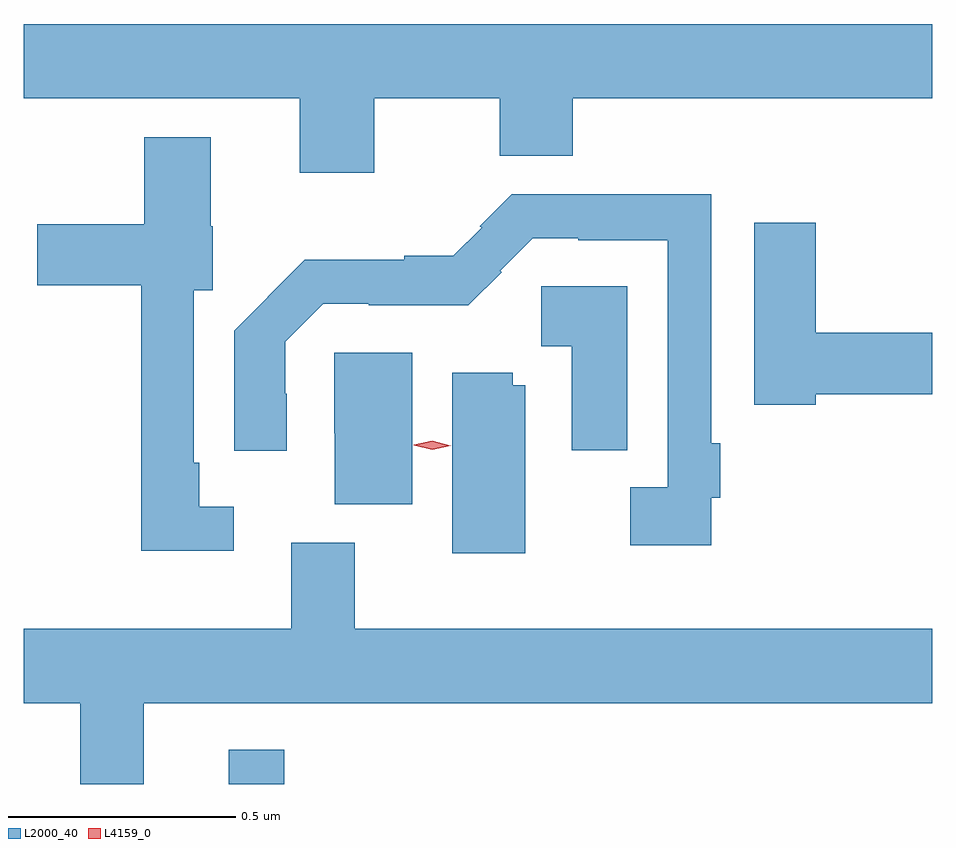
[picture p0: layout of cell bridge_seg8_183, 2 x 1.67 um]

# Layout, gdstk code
import gdstk
lib = gdstk.Library(unit=1e-6, precision=1e-09)
def R(c, l, rs):  # rectangles x0, y0, x1, y1
    for r in rs: c.add(gdstk.rectangle(r[:2], r[2:], *l))
def P(c, l, *ps):  # polygons
    for p in ps: c.add(gdstk.Polygon(p, *l))
L2000_40 = (2000, 40)
L4159_0 = (4159, 0)

bridge_seg8_183 = lib.new_cell('bridge_seg8_183')
R(bridge_seg8_183, L2000_40, [(274.094,1114.99,274.216,1115.065)])
P(bridge_seg8_183, L2000_40, [(273.643,1116.5),(274.25,1116.5),(274.25,1116.336),(274.414,1116.336),(274.414,1116.5),(274.691,1116.5),(274.691,1116.374),(274.852,1116.374),(274.852,1116.5),(275.643,1116.5),(275.643,1116.664),(273.643,1116.664)],
  [(274.105,1115.601),(274.029,1115.601),(274.029,1115.698),(274.017,1115.698),(274.017,1116.077),(274.059,1116.077),(274.059,1116.219),(274.054,1116.219),(274.054,1116.415),(273.908,1116.415),(273.908,1116.223),(273.672,1116.223),(273.672,1116.089),(273.901,1116.089),(273.901,1115.504),(274.105,1115.504)],
  [(275.157,1115.62),(275.177,1115.62),(275.177,1115.74),(275.157,1115.74),(275.157,1116.289),(274.717,1116.289),(274.647,1116.219),(274.651,1116.215),(274.589,1116.153),(274.481,1116.153),(274.481,1116.145),(274.261,1116.145),(274.18,1116.063),(274.18,1116.062),(274.106,1115.988),(274.106,1115.724),(274.222,1115.724),(274.222,1115.85),(274.218,1115.85),(274.218,1115.964),(274.302,1116.048),(274.402,1116.048),(274.402,1116.044),(274.621,1116.044),(274.695,1116.117),(274.692,1116.12),(274.764,1116.192),(274.864,1116.192),(274.864,1116.188),(275.061,1116.188),(275.061,1115.644),(274.978,1115.644),(274.978,1115.516),(275.157,1115.516)],
  [(275.387,1115.848),(275.643,1115.848),(275.643,1115.984),(275.387,1115.984),(275.387,1116.226),(275.252,1116.226),(275.252,1115.825),(275.387,1115.825)],
  [(274.972,1116.086),(274.782,1116.086),(274.782,1115.954),(274.85,1115.954),(274.85,1115.725),(274.972,1115.725)],
  [(274.498,1115.94),(274.326,1115.94),(274.326,1115.763),(274.328,1115.763),(274.328,1115.606),(274.498,1115.606)],
  [(274.747,1115.868),(274.719,1115.868),(274.719,1115.896),(274.586,1115.896),(274.586,1115.498),(274.747,1115.498)],
  [(273.907,1115.168),(275.643,1115.168),(275.643,1115.332),(274.372,1115.332),(274.372,1115.521),(274.232,1115.521),(274.232,1115.332),(273.643,1115.332),(273.643,1115.168),(273.767,1115.168),(273.767,1114.99),(273.907,1114.99)])
P(bridge_seg8_183, L4159_0, [(274.542,1115.726),(274.501,1115.736),(274.501,1115.736),(274.501,1115.737),(274.542,1115.746),(274.583,1115.735),(274.583,1115.735),(274.583,1115.735)])

lib.write_gds('bridge_seg8_183.gds')
